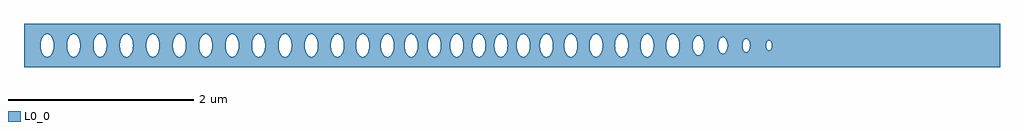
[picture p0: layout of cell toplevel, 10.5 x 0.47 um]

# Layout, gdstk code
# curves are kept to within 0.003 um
import gdstk
lib = gdstk.Library(unit=1e-6, precision=1e-09)
def P(c, l, *ps):  # polygons
    for p in ps: c.add(gdstk.Polygon(p, *l))
L0_0 = (0, 0)

toplevel = lib.new_cell('toplevel')
P(toplevel, L0_0, [(-4.501,0.023),(-4.494,0.06),(-4.477,0.096),(-4.477,0.235),(-5.25,0.235),(-5.25,-0.016),(-5.071,-0.016),(-5.068,0.038),(-5.058,0.073),(-5.035,0.109),(-5.005,0.124),(-4.979,0.118),(-4.963,0.105),(-4.949,0.085),(-4.935,0.046),(-4.93,-0.008),(-4.787,-0.008),(-4.785,0.031),(-4.771,0.079),(-4.75,0.109),(-4.721,0.124),(-4.695,0.118),(-4.671,0.096),(-4.659,0.073),(-4.646,0.016),(-4.649,-0.038),(-4.659,-0.073),(-4.682,-0.109),(-4.712,-0.124),(-4.738,-0.118),(-4.765,-0.09),(-4.782,-0.046),(-4.787,-0.008),(-4.93,-0.008),(-4.935,-0.046),(-4.949,-0.085),(-4.967,-0.109),(-4.996,-0.124),(-5.022,-0.118),(-5.046,-0.096),(-5.058,-0.073),(-5.071,-0.016),(-5.25,-0.016),(-5.25,-0.235),(-4.477,-0.235),(-4.477,-0.096),(-4.498,-0.046)],
  [(-3.933,0.016),(-3.929,0.046),(-3.918,0.079),(-3.897,0.109),(-3.868,0.124),(-3.85,0.122),(-3.829,0.109),(-3.829,0.235),(-4.477,0.235),(-4.477,0.096),(-4.454,0.118),(-4.436,0.124),(-4.419,0.122),(-4.398,0.109),(-4.387,0.096),(-4.37,0.06),(-4.362,0.016),(-4.362,-0.016),(-4.218,-0.016),(-4.215,0.038),(-4.205,0.073),(-4.182,0.109),(-4.152,0.124),(-4.126,0.118),(-4.099,0.09),(-4.082,0.046),(-4.077,0.008),(-4.079,-0.031),(-4.093,-0.079),(-4.114,-0.109),(-4.143,-0.124),(-4.169,-0.118),(-4.193,-0.096),(-4.205,-0.073),(-4.218,-0.016),(-4.362,-0.016),(-4.375,-0.073),(-4.387,-0.096),(-4.41,-0.118),(-4.428,-0.124),(-4.445,-0.122),(-4.466,-0.109),(-4.477,-0.096),(-4.477,-0.235),(-3.829,-0.235),(-3.829,-0.109),(-3.85,-0.122),(-3.868,-0.124),(-3.885,-0.118),(-3.901,-0.105),(-3.918,-0.079),(-3.929,-0.046)],
  [(-3.829,0.235),(-3.829,0.109),(-3.806,0.073),(-3.796,0.038),(-3.793,0),(-3.65,0),(-3.645,0.046),(-3.63,0.085),(-3.613,0.109),(-3.584,0.124),(-3.557,0.118),(-3.534,0.096),(-3.517,0.06),(-3.509,0.016),(-3.512,-0.038),(-3.522,-0.073),(-3.545,-0.109),(-3.575,-0.124),(-3.601,-0.118),(-3.624,-0.096),(-3.645,-0.046),(-3.65,0),(-3.793,0),(-3.796,-0.038),(-3.806,-0.073),(-3.829,-0.109),(-3.829,-0.235),(-3.228,-0.235),(-3.228,-0.04),(-3.243,-0.085),(-3.257,-0.105),(-3.277,-0.12),(-3.299,-0.124),(-3.317,-0.118),(-3.34,-0.096),(-3.357,-0.06),(-3.365,-0.016),(-3.362,0.038),(-3.352,0.073),(-3.333,0.105),(-3.308,0.122),(-3.282,0.122),(-3.257,0.105),(-3.243,0.085),(-3.228,0.038),(-3.228,0.235)],
  [(-2.506,0.235),(-3.228,0.235),(-3.228,0.035),(-3.224,-0.008),(-3.081,-0.008),(-3.078,0.038),(-3.068,0.073),(-3.041,0.112),(-3.015,0.124),(-2.989,0.118),(-2.973,0.105),(-2.959,0.085),(-2.943,0.038),(-2.94,-0.008),(-2.797,-0.008),(-2.792,0.046),(-2.781,0.079),(-2.76,0.109),(-2.731,0.124),(-2.704,0.118),(-2.681,0.096),(-2.664,0.06),(-2.656,0.016),(-2.659,-0.038),(-2.669,-0.073),(-2.692,-0.109),(-2.722,-0.124),(-2.748,-0.118),(-2.771,-0.096),(-2.788,-0.06),(-2.797,-0.008),(-2.94,-0.008),(-2.943,-0.038),(-2.959,-0.085),(-2.977,-0.109),(-3.006,-0.124),(-3.032,-0.118),(-3.059,-0.09),(-3.076,-0.046),(-3.081,-0.008),(-3.224,-0.008),(-3.228,-0.038),(-3.228,-0.235),(-2.506,-0.235),(-2.506,-0.053),(-2.512,-0.016),(-2.506,0.05)],
  [(-1.948,0.023),(-1.941,0.06),(-1.924,0.096),(-1.901,0.118),(-1.883,0.124),(-1.883,0.235),(-2.506,0.235),(-2.506,0.053),(-2.48,0.105),(-2.455,0.122),(-2.437,0.124),(-2.408,0.109),(-2.385,0.073),(-2.376,0.046),(-2.372,-0.016),(-2.229,-0.016),(-2.226,0.038),(-2.21,0.085),(-2.185,0.115),(-2.172,0.122),(-2.154,0.124),(-2.125,0.109),(-2.107,0.085),(-2.093,0.046),(-2.088,0.008),(-2.09,-0.031),(-2.104,-0.079),(-2.125,-0.109),(-2.154,-0.124),(-2.18,-0.118),(-2.204,-0.096),(-2.216,-0.073),(-2.229,-0.016),(-2.372,-0.016),(-2.38,-0.06),(-2.397,-0.096),(-2.42,-0.118),(-2.437,-0.124),(-2.455,-0.122),(-2.48,-0.105),(-2.506,-0.054),(-2.506,-0.235),(-1.883,-0.235),(-1.883,-0.124),(-1.913,-0.109),(-1.936,-0.073),(-1.949,-0.016)],
  [(-1.883,0.235),(-1.883,0.124),(-1.857,0.118),(-1.841,0.105),(-1.828,0.085),(-1.813,0.046),(-1.809,-0.016),(-1.676,-0.016),(-1.673,0.038),(-1.663,0.073),(-1.64,0.109),(-1.61,0.124),(-1.584,0.118),(-1.568,0.105),(-1.554,0.085),(-1.54,0.046),(-1.535,0),(-1.54,-0.046),(-1.554,-0.085),(-1.572,-0.109),(-1.601,-0.124),(-1.628,-0.118),(-1.651,-0.096),(-1.668,-0.06),(-1.676,-0.016),(-1.809,-0.016),(-1.817,-0.06),(-1.834,-0.096),(-1.857,-0.118),(-1.883,-0.124),(-1.883,-0.235),(-1.286,-0.235),(-1.286,-0.079),(-1.303,-0.105),(-1.319,-0.118),(-1.336,-0.124),(-1.363,-0.118),(-1.379,-0.105),(-1.398,-0.073),(-1.411,-0.016),(-1.411,0.016),(-1.403,0.06),(-1.386,0.096),(-1.375,0.109),(-1.354,0.122),(-1.328,0.122),(-1.303,0.105),(-1.286,0.079),(-1.286,0.235)],
  [(-0.665,0),(-0.664,0.235),(-1.286,0.235),(-1.286,0.078),(-1.275,0.046),(-1.27,-0.008),(-1.155,-0.008),(-1.153,0.031),(-1.139,0.079),(-1.118,0.109),(-1.089,0.124),(-1.071,0.122),(-1.058,0.115),(-1.033,0.085),(-1.017,0.038),(-1.014,-0.016),(-0.906,-0.016),(-0.903,0.038),(-0.893,0.073),(-0.87,0.109),(-0.84,0.124),(-0.814,0.118),(-0.791,0.096),(-0.774,0.06),(-0.766,0.016),(-0.77,-0.046),(-0.779,-0.073),(-0.802,-0.109),(-0.832,-0.124),(-0.858,-0.118),(-0.881,-0.096),(-0.898,-0.06),(-0.906,-0.016),(-1.014,-0.016),(-1.027,-0.073),(-1.039,-0.096),(-1.063,-0.118),(-1.089,-0.124),(-1.118,-0.109),(-1.136,-0.085),(-1.15,-0.046),(-1.155,-0.008),(-1.27,-0.008),(-1.275,-0.046),(-1.286,-0.079),(-1.286,-0.235),(-0.664,-0.235)],
  [(-0.188,0.023),(-0.176,0.073),(-0.164,0.096),(-0.164,0.235),(-0.664,0.235),(-0.664,0.016),(-0.656,0.06),(-0.639,0.096),(-0.616,0.118),(-0.59,0.124),(-0.56,0.109),(-0.537,0.073),(-0.527,0.038),(-0.524,-0.016),(-0.426,-0.016),(-0.423,0.038),(-0.407,0.085),(-0.394,0.105),(-0.378,0.118),(-0.351,0.124),(-0.322,0.109),(-0.304,0.085),(-0.29,0.046),(-0.285,0),(-0.29,-0.046),(-0.304,-0.085),(-0.322,-0.109),(-0.351,-0.124),(-0.378,-0.118),(-0.401,-0.096),(-0.418,-0.06),(-0.426,-0.016),(-0.524,-0.016),(-0.532,-0.06),(-0.556,-0.105),(-0.581,-0.122),(-0.607,-0.122),(-0.628,-0.109),(-0.639,-0.096),(-0.656,-0.06),(-0.664,-0.018),(-0.664,-0.235),(-0.164,-0.235),(-0.164,-0.096),(-0.176,-0.073),(-0.186,-0.038)],
  [(0.301,0.016),(0.311,0.066),(0.333,0.105),(0.358,0.122),(0.375,0.124),(0.388,0.12),(0.388,0.235),(-0.164,0.235),(-0.164,0.096),(-0.145,0.115),(-0.123,0.124),(-0.105,0.122),(-0.085,0.109),(-0.067,0.085),(-0.057,0.06),(-0.05,0.031),(-0.048,-0.008),(0.051,-0.008),(0.054,0.038),(0.067,0.079),(0.088,0.109),(0.117,0.124),(0.143,0.118),(0.17,0.09),(0.187,0.046),(0.192,0.008),(0.189,-0.038),(0.179,-0.073),(0.152,-0.112),(0.126,-0.124),(0.1,-0.118),(0.073,-0.09),(0.056,-0.046),(0.051,-0.008),(-0.048,-0.008),(-0.059,-0.066),(-0.07,-0.09),(-0.085,-0.109),(-0.105,-0.122),(-0.123,-0.124),(-0.145,-0.115),(-0.164,-0.096),(-0.164,-0.235),(0.388,-0.235),(0.388,-0.12),(0.375,-0.124),(0.358,-0.122),(0.337,-0.109),(0.326,-0.096),(0.305,-0.046)],
  [(0.835,0.016),(0.839,0.046),(0.853,0.085),(0.871,0.109),(0.891,0.122),(0.918,0.122),(0.935,0.112),(0.956,0.085),(0.97,0.046),(0.97,0.235),(0.388,0.235),(0.388,0.12),(0.409,0.105),(0.428,0.073),(0.438,0.038),(0.441,-0.016),(0.563,-0.016),(0.566,0.038),(0.576,0.073),(0.599,0.109),(0.629,0.124),(0.655,0.118),(0.678,0.096),(0.699,0.046),(0.704,0),(0.699,-0.046),(0.684,-0.085),(0.667,-0.109),(0.638,-0.124),(0.611,-0.118),(0.588,-0.096),(0.571,-0.06),(0.563,-0.016),(0.441,-0.016),(0.435,-0.053),(0.422,-0.085),(0.409,-0.105),(0.388,-0.12),(0.388,-0.235),(0.97,-0.235),(0.97,-0.046),(0.956,-0.085),(0.935,-0.112),(0.918,-0.122),(0.891,-0.122),(0.867,-0.105),(0.85,-0.079),(0.836,-0.031)],
  [(0.974,-0.016),(0.97,-0.046),(0.97,-0.235),(1.663,-0.235),(1.663,0.235),(0.97,0.235),(0.97,0.045),(0.975,0),(1.108,0),(1.113,0.046),(1.134,0.096),(1.157,0.118),(1.183,0.124),(1.213,0.109),(1.236,0.073),(1.246,0.038),(1.249,-0.016),(1.383,-0.016),(1.389,0.053),(1.408,0.096),(1.419,0.109),(1.44,0.122),(1.458,0.124),(1.475,0.118),(1.491,0.105),(1.508,0.079),(1.519,0.046),(1.524,-0.008),(1.519,-0.046),(1.505,-0.085),(1.487,-0.109),(1.466,-0.122),(1.44,-0.122),(1.415,-0.105),(1.391,-0.06),(1.383,-0.016),(1.249,-0.016),(1.241,-0.06),(1.224,-0.096),(1.201,-0.118),(1.183,-0.124),(1.157,-0.118),(1.134,-0.096),(1.113,-0.046),(1.108,0),(0.975,0)],
  [(1.663,-0.235),(2.259,-0.235),(2.259,-0.088),(2.247,-0.081),(2.231,-0.061),(2.218,-0.011),(2.219,0.022),(2.229,0.057),(2.241,0.075),(2.259,0.088),(2.259,0.235),(1.663,0.235),(1.663,0.038),(1.673,0.073),(1.685,0.096),(1.709,0.118),(1.735,0.124),(1.764,0.109),(1.785,0.079),(1.799,0.031),(1.8,-0.013),(1.945,-0.013),(1.946,0.027),(1.958,0.068),(1.979,0.096),(2.005,0.107),(2.027,0.099),(2.047,0.078),(2.063,0.033),(2.066,0),(2.063,-0.033),(2.047,-0.078),(2.027,-0.099),(2.005,-0.107),(1.986,-0.101),(1.966,-0.082),(1.95,-0.045),(1.945,-0.013),(1.8,-0.013),(1.796,-0.046),(1.782,-0.085),(1.764,-0.109),(1.735,-0.124),(1.717,-0.122),(1.696,-0.109),(1.673,-0.073),(1.663,-0.039)],
  [(2.265,0.089),(2.284,0.085),(2.301,0.069),(2.313,0.043),(2.319,0),(2.479,0),(2.49,0.049),(2.505,0.067),(2.523,0.072),(2.54,0.063),(2.552,0.046),(2.56,0.018),(2.56,-0.01),(2.734,-0.01),(2.735,0.017),(2.743,0.04),(2.761,0.054),(2.774,0.052),(2.786,0.04),(2.794,0.017),(2.795,-0.01),(2.786,-0.04),(2.768,-0.054),(2.757,-0.053),(2.746,-0.044),(2.734,-0.01),(2.56,-0.01),(2.555,-0.038),(2.542,-0.061),(2.518,-0.072),(2.505,-0.067),(2.49,-0.049),(2.479,0),(2.319,0),(2.313,-0.043),(2.301,-0.069),(2.278,-0.088),(2.259,-0.088),(2.259,-0.235),(5.25,-0.235),(5.25,0.235),(2.259,0.235),(2.259,0.088)])

lib.write_gds('toplevel.gds')
